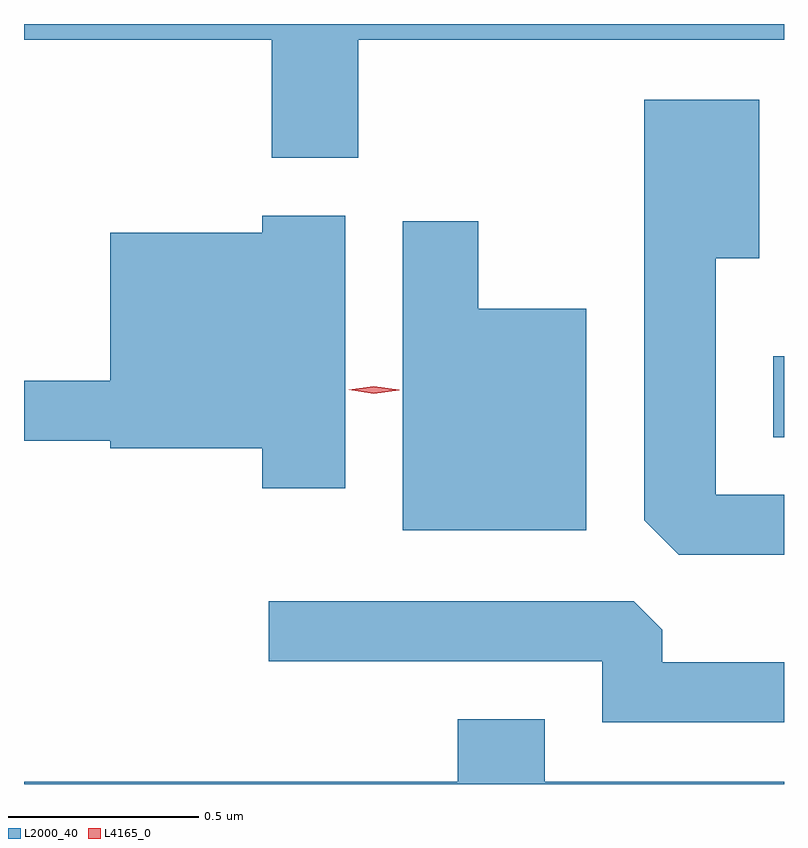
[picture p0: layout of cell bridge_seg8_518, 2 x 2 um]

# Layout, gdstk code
import gdstk
lib = gdstk.Library(unit=1e-6, precision=1e-09)
def R(c, l, rs):  # rectangles x0, y0, x1, y1
    for r in rs: c.add(gdstk.rectangle(r[:2], r[2:], *l))
def P(c, l, *ps):  # polygons
    for p in ps: c.add(gdstk.Polygon(p, *l))
L2000_40 = (2000, 40)
L4165_0 = (4165, 0)

bridge_seg8_518 = lib.new_cell('bridge_seg8_518')
R(bridge_seg8_518, L2000_40, [(241.061,1868.671,241.089,1868.884)])
P(bridge_seg8_518, L2000_40, [(239.969,1869.716),(241.089,1869.716),(241.089,1869.758),(239.089,1869.758),(239.089,1869.716),(239.741,1869.716),(239.741,1869.406),(239.969,1869.406)],
  [(241.089,1868.519),(240.909,1868.519),(240.909,1869.141),(241.024,1869.141),(241.024,1869.559),(240.721,1869.559),(240.721,1868.452),(240.812,1868.361),(241.089,1868.361)],
  [(239.934,1869.254),(239.716,1869.254),(239.716,1869.209),(239.316,1869.209),(239.316,1868.819),(239.089,1868.819),(239.089,1868.661),(239.316,1868.661),(239.316,1868.641),(239.716,1868.641),(239.716,1868.536),(239.934,1868.536)],
  [(240.569,1869.009),(240.284,1869.009),(240.284,1869.239),(240.086,1869.239),(240.086,1868.426),(240.569,1868.426)],
  [(241.089,1868.079),(240.769,1868.079),(240.769,1868.164),(240.694,1868.239),(239.733,1868.239),(239.733,1868.081),(240.611,1868.081),(240.611,1867.921),(241.089,1867.921)],
  [(241.089,1867.764),(240.459,1867.764),(240.459,1867.929),(240.231,1867.929),(240.231,1867.764),(239.089,1867.764),(239.089,1867.758),(241.089,1867.758)])
P(bridge_seg8_518, L4165_0, [(240.009,1868.785),(239.944,1868.795),(239.943,1868.796),(239.944,1868.796),(240.01,1868.805),(240.076,1868.795),(240.076,1868.794),(240.076,1868.794)])

lib.write_gds('bridge_seg8_518.gds')
